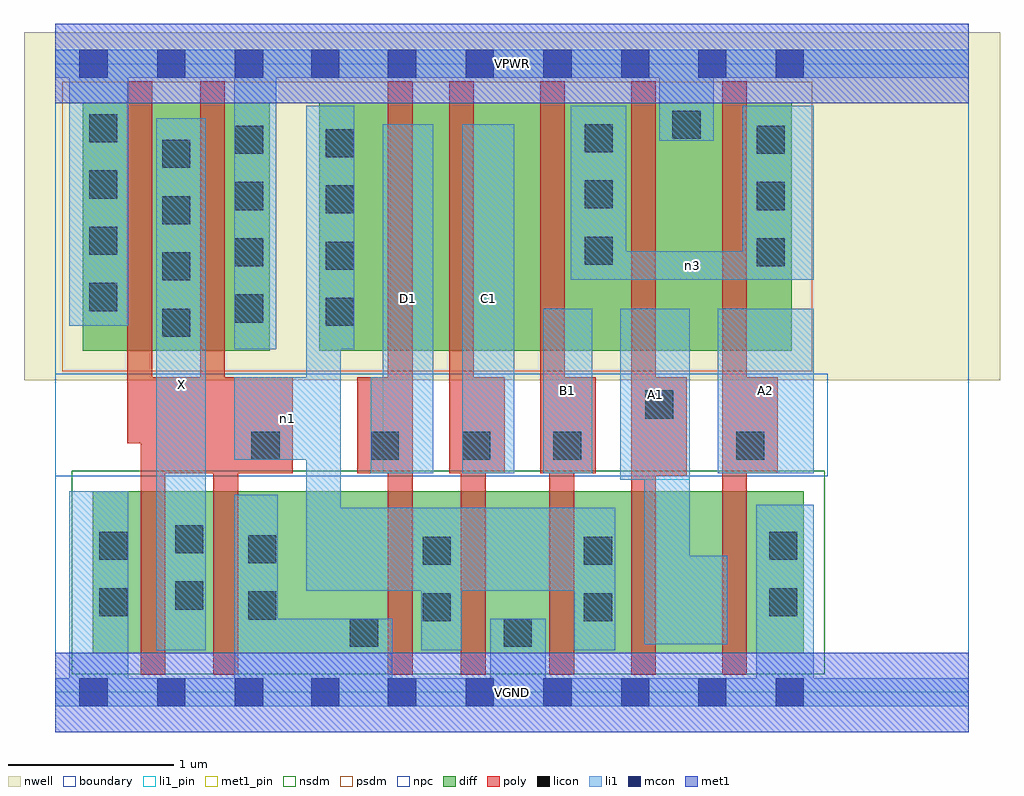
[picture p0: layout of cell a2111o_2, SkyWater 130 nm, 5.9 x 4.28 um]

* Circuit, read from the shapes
.subckt a2111o_2 A1 A2 B1 C1 D1 VGND VPWR X n1 n3
XM1 X n1 VGND VSUBS sky130_fd_pr__nfet_01v8 w=0.98 l=0.15 m=2
XM2 n1 D1 VGND VSUBS sky130_fd_pr__nfet_01v8 w=0.98 l=0.15
XM3 VGND C1 n1 VSUBS sky130_fd_pr__nfet_01v8 w=0.98 l=0.15
XM4 n1 B1 VGND VSUBS sky130_fd_pr__nfet_01v8 w=0.98 l=0.15
XM5 n2 A1 n1 VSUBS sky130_fd_pr__nfet_01v8 w=0.98 l=0.15
XM6 VGND A2 n2 VSUBS sky130_fd_pr__nfet_01v8 w=0.98 l=0.15
XM7 X n1 VPWR n4 sky130_fd_pr__pfet_01v8 w=1.5 l=0.15 m=2
XM8 n5 D1 n1 n4 sky130_fd_pr__pfet_01v8 w=1.5 l=0.15
XM9 n6 C1 n5 n4 sky130_fd_pr__pfet_01v8 w=1.5 l=0.15
XM10 n3 B1 n6 n4 sky130_fd_pr__pfet_01v8 w=1.5 l=0.15
XM11 VPWR A1 n3 n4 sky130_fd_pr__pfet_01v8 w=1.5 l=0.15
XM12 n3 A2 VPWR n4 sky130_fd_pr__pfet_01v8 w=1.5 l=0.15
.ends

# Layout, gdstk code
import gdstk
lib = gdstk.Library(unit=1e-6, precision=1e-09)
def R(c, l, rs):  # rectangles x0, y0, x1, y1
    for r in rs: c.add(gdstk.rectangle(r[:2], r[2:], *l))
def A(c, l, x, y, w, h, nx, ny, dx, dy):  # array of equal rectangles
    R(c, l, [(x+i*dx, y+j*dy, x+i*dx+w, y+j*dy+h) for i in range(nx) for j in range(ny)])
nwell = (64, 20)
diff = (65, 20)
poly = (66, 20)
licon = (66, 44)
li1_pin = (67, 16)
li1 = (67, 20)
mcon = (67, 44)
met1_pin = (68, 16)
met1 = (68, 20)
nsdm = (93, 44)
psdm = (94, 20)
npc = (95, 20)
boundary = (235, 4)

a2111o_2 = lib.new_cell('a2111o_2')
R(a2111o_2, nwell, [(-0.19,1.885,5.71,3.99), (0,1.885,5.52,3.99)])
R(a2111o_2, diff, [(0.225,0.235,4.525,1.215), (0.165,2.065,1.295,3.565), (1.595,2.065,4.45,3.565)])
R(a2111o_2, poly, [(0.515,0.105,0.665,1.905), (0.955,0.105,1.105,1.905), (2.01,0.105,2.16,3.695), (2.45,0.105,2.6,1.905), (2.985,0.105,3.135,1.905), (3.48,0.105,3.63,3.695), (4.03,0.105,4.18,3.695), (3.48,1.31,3.815,1.905), (0.515,1.325,1.435,1.905), (0.875,1.325,1.025,3.695), (1.825,1.325,2.16,1.905), (2.38,1.325,2.53,3.695), (2.38,1.325,2.715,1.905), (2.93,1.325,3.08,3.695), (2.93,1.325,3.265,1.905), (4.03,1.325,4.365,1.905), (0.435,1.505,0.585,3.695)])
A(a2111o_2, licon, 0.645, 2.15, 0.17, 0.17, 1, 4, 0, 0.34)
A(a2111o_2, licon, 1.635, 2.215, 0.17, 0.17, 1, 4, 0, 0.34)
A(a2111o_2, licon, 1.085, 2.235, 0.17, 0.17, 1, 4, 0, 0.34)
A(a2111o_2, licon, 0.205, 2.305, 0.17, 0.17, 1, 4, 0, 0.34)
A(a2111o_2, licon, 4.24, 2.575, 0.17, 0.17, 1, 3, 0, 0.34)
A(a2111o_2, licon, 3.2, 2.585, 0.17, 0.17, 1, 3, 0, 0.34)
R(a2111o_2, licon, [(1.78,0.275,1.95,0.445), (2.71,0.275,2.88,0.445), (2.22,0.43,2.39,0.6), (3.195,0.43,3.365,0.6), (1.165,0.44,1.335,0.61), (0.265,0.46,0.435,0.63), (4.315,0.46,4.485,0.63), (0.725,0.5,0.895,0.67), (2.22,0.77,2.39,0.94), (3.195,0.77,3.365,0.94), (1.165,0.78,1.335,0.95), (0.265,0.8,0.435,0.97), (4.315,0.8,4.485,0.97), (0.725,0.84,0.895,1.01), (1.185,1.405,1.355,1.575), (1.905,1.405,2.075,1.575), (2.46,1.405,2.63,1.575), (3.01,1.405,3.18,1.575), (4.115,1.405,4.285,1.575), (3.565,1.655,3.735,1.825), (3.73,3.345,3.9,3.515)])
R(a2111o_2, li1_pin, [(0.61,0.255,0.91,3.47), (3.415,1.285,3.835,2.32), (1.98,1.325,2.285,3.435), (2.46,1.325,2.775,3.435), (2.95,1.325,3.245,2.32), (4.005,1.325,4.585,2.32)])
R(a2111o_2, li1, [(0,-0.085,5.52,0.085), (0.085,-0.085,0.44,1.215), (1.08,-0.085,2.035,0.445), (1.08,-0.085,1.345,1.195), (2.63,-0.085,2.965,0.445), (4.235,-0.085,4.585,1.135), (0.61,0.255,0.91,3.47), (2.21,0.255,2.455,1.115), (3.135,0.255,3.385,1.115), (3.56,0.29,3.835,2.32), (3.56,0.29,4.06,0.825), (1.515,0.615,1.725,3.545), (1.515,0.615,3.385,1.115), (3.415,1.285,3.835,2.32), (1.905,1.325,2.285,1.905), (1.98,1.325,2.285,3.435), (2.46,1.325,2.775,3.435), (2.95,1.325,3.245,2.32), (4.005,1.325,4.585,2.32), (1.08,1.405,1.725,1.905), (1.08,2.075,1.335,3.885), (1.515,2.075,1.805,3.545), (0.085,2.215,0.44,3.885), (3.115,2.495,4.585,2.665), (3.115,2.495,3.45,3.545), (4.155,2.495,4.585,3.545), (3.65,3.335,3.98,3.885), (0,3.715,5.52,3.885)])
A(a2111o_2, mcon, 0.145, -0.085, 0.17, 0.17, 3, 2, 0.47, 3.8)
A(a2111o_2, mcon, 2.01, -0.085, 0.17, 0.17, 4, 2, 0.47, 3.8)
R(a2111o_2, mcon, [(1.545,-0.085,1.715,0.085), (3.885,-0.085,4.055,0.085), (4.355,-0.085,4.525,0.085), (1.545,3.715,1.715,3.885), (3.885,3.715,4.055,3.885), (4.355,3.715,4.525,3.885)])
R(a2111o_2, met1_pin, [(0,-0.24,5.52,0.24), (0,3.56,5.52,4.04)])
R(a2111o_2, met1, [(0,-0.24,5.52,0.24), (0,3.56,5.52,4.04)])
R(a2111o_2, nsdm, [(0.1,0.11,4.65,1.34)])
R(a2111o_2, psdm, [(0.04,1.94,4.575,3.69)])
R(a2111o_2, npc, [(0,1.305,4.67,1.925)])
R(a2111o_2, boundary, [(0,0,5.52,3.8)])
a2111o_2.add(gdstk.Label('A1', (3.625,1.802), layer=67, texttype=5))
a2111o_2.add(gdstk.Label('A2', (4.295,1.822), layer=67, texttype=5))
a2111o_2.add(gdstk.Label('B1', (3.097,1.822), layer=67, texttype=5))
a2111o_2.add(gdstk.Label('C1', (2.617,2.38), layer=67, texttype=5))
a2111o_2.add(gdstk.Label('D1', (2.132,2.38), layer=67, texttype=5))
a2111o_2.add(gdstk.Label('X', (0.76,1.862), layer=67, texttype=5))
a2111o_2.add(gdstk.Label('n1', (1.402,1.655), layer=67, texttype=5))
a2111o_2.add(gdstk.Label('n3', (3.85,2.58), layer=67, texttype=5))
a2111o_2.add(gdstk.Label('VPWR', (2.76,3.8), layer=68, texttype=5))
a2111o_2.add(gdstk.Label('VGND', (2.76,0), layer=68, texttype=5))
a2111o_2.add(gdstk.Label('A1', (3.625,1.802), layer=67, texttype=16))
a2111o_2.add(gdstk.Label('A2', (4.295,1.822), layer=67, texttype=16))
a2111o_2.add(gdstk.Label('B1', (3.097,1.822), layer=67, texttype=16))
a2111o_2.add(gdstk.Label('C1', (2.617,2.38), layer=67, texttype=16))
a2111o_2.add(gdstk.Label('D1', (2.132,2.38), layer=67, texttype=16))
a2111o_2.add(gdstk.Label('X', (0.76,1.862), layer=67, texttype=16))
a2111o_2.add(gdstk.Label('VPWR', (2.76,3.8), layer=68, texttype=16))
a2111o_2.add(gdstk.Label('VGND', (2.76,0), layer=68, texttype=16))

lib.write_gds('a2111o_2.gds')
